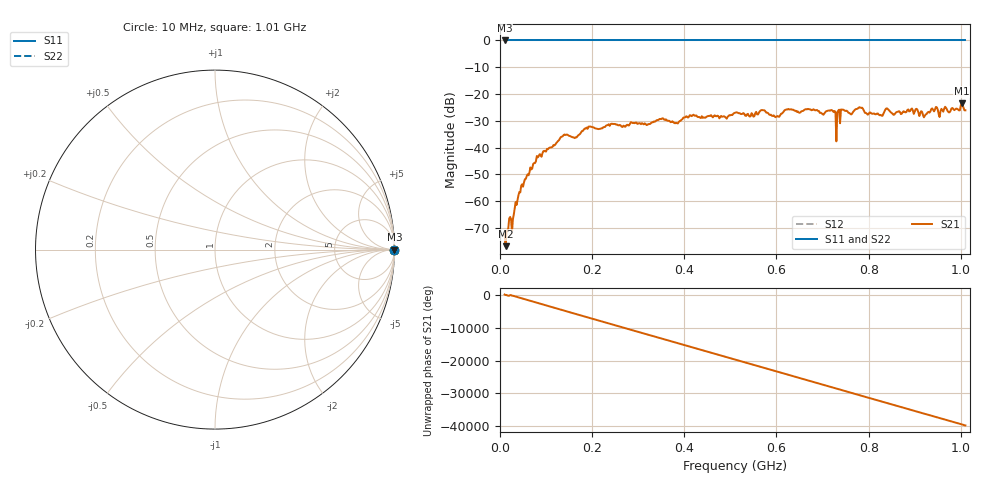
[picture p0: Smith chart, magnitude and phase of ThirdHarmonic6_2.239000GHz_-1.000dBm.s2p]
! 8/17/2025 2:36:33 AM
! C:\ANRITSUVNA\TEMP\TEMP.S2P
! CHANNEL.1
! TR.MEASUREMENT
! RAW.DATA
! RF.CORRECTION.OFF
! AVERAGING.OFF
! IF.BANDWIDTH: 5KHZ
! SWEEPTYPE:  FREQ.SWEEP(Linear)
! Reference Plane Port Info
! PORT:  PORT1  PORT2
! DISTANCE:  0  m  0  m
! TIME:  0  s  0  s
! PHASE.OFFSET:  0  deg.  0  deg.
! LOSS:  0  dB  0  dB
! REF.LOSS:  0  dB  0  dB
! REF.FREQ:  0  Hz  0  Hz
! Power Info
! POWER:  -20  dBm  -20  dBm
! EFF.POWER:  -20  dBm  -20  dBm
! SOURCE.ATTEN:  0  dB  0  dB
! TEST.ATTEN:  0  dB  0  dB
# GHZ S RI R 50.0
! FREQ.GHZ  S11RE  S11IM  S21RE  S21IM  S12RE  S12IM  S22RE  S22IM
!; PortSelection: Port_12
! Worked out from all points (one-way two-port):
!   501 points, 10 MHz to 1.01 GHz, reference 50 ohm
!   highest |S21| = -23.38 dB at 1.002 GHz (marker M1); lowest = -76.8 dB at 12 MHz (marker M2)
!   lowest |S11| = 0.0 dB at 10 MHz (marker M3)
!   |S11| at or under -10 dB: nowhere
!   |S22| runs from 0.0 to 0.0 dB; largest |S21 - S12| = 1.1
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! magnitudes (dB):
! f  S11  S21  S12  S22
! 10 MHz  0.0  -71.5  0.0  0.0
! 12 MHz  0.0  -76.8  0.0  0.0
! 28 MHz  0.0  -66.8  0.0  0.0
! 44 MHz  0.0  -56.7  0.0  0.0
! 84 MHz  0.0  -43.2  0.0  0.0
! 136 MHz  0.0  -35.8  0.0  0.0
! 178 MHz  0.0  -33.8  0.0  0.0
! 344 MHz  0.0  -29.6  0.0  0.0
! 382 MHz  0.0  -30.8  0.0  0.0
! 510 MHz  0.0  -27.0  0.0  0.0
! 570 MHz  0.0  -26.0  0.0  0.0
! 602 MHz  0.0  -28.2  0.0  0.0
! 622 MHz  0.0  -25.7  0.0  0.0
! 678 MHz  0.0  -25.9  0.0  0.0
! 722 MHz  0.0  -26.3  0.0  0.0
! 734 MHz  0.0  -26.2  0.0  0.0
! 744 MHz  0.0  -25.8  0.0  0.0
! 826 MHz  0.0  -27.8  0.0  0.0
! 844 MHz  0.0  -26.0  0.0  0.0
! 922 MHz  0.0  -28.0  0.0  0.0
! 1.002 GHz  0.0  -23.4  0.0  0.0
! 1.01 GHz  0.0  -26.1  0.0  0.0
